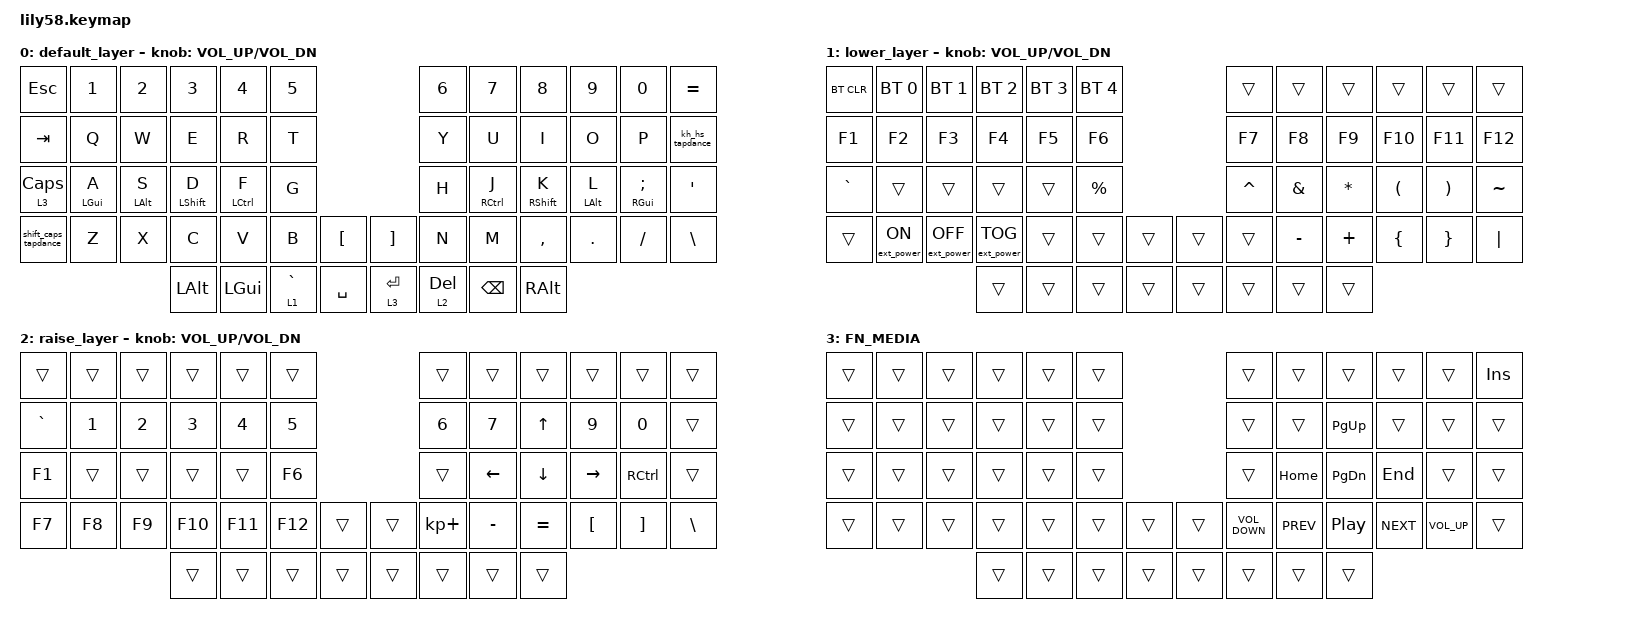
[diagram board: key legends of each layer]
/*
 * Copyright (c) 2020 The ZMK Contributors
 *
 * SPDX-License-Identifier: MIT
 */

#include <behaviors.dtsi>
#include <dt-bindings/zmk/bt.h>
#include <dt-bindings/zmk/ext_power.h>
#include <dt-bindings/zmk/keys.h>

&lt { quick-tap-ms = <300>; };

/ {
    combos {
        compatible = "zmk,combos";

        combo_esc {
            timeout-ms = <50>;
            key-positions = <0 1>;
            bindings = <&kp ESC>;
        };

        escape_pinkies {
            bindings = <&kp ESC>;
            key-positions = <25 34>;
        };

        zmk-studio-unlock {
            bindings = <&studio_unlock>;
            key-positions = <5 6>;
        };
    };

    behaviors {
        ss_hs_modmorph: ss_hs_modmorph {
            compatible = "zmk,behavior-mod-morph";
            label = "SS_HS_MODMORPH";
            bindings = <&kp M>, <&kp RIGHT_BRACKET>;

            #binding-cells = <0>;
            mods = <(MOD_LSFT|MOD_RSFT)>;
        };

        kh_hs_tapdance: kh_hs_tapdance {
            compatible = "zmk,behavior-tap-dance";
            label = "KH_HS_TAPDANCE";
            #binding-cells = <0>;
            tapping-term-ms = <200>;
            bindings = <&kp LEFT_BRACKET>, <&kp RIGHT_BRACKET>;
        };

        hrm: hrm {
            compatible = "zmk,behavior-hold-tap";
            #binding-cells = <2>;
            flavor = "tap-preferred";
            tapping-term-ms = <250>;
            quick-tap-ms = <200>;
            require-prior-idle-ms = <125>;
            bindings = <&kp>, <&kp>;
        };

        shift_caps_tapdance: shift_caps_tapdance {
            compatible = "zmk,behavior-tap-dance";
            label = "SHIFT_CAPS_TAPDANCE";
            #binding-cells = <0>;
            bindings = <&kp LSHFT>, <&kp LS(CAPSLOCK)>;
        };
    };

    keymap {
        compatible = "zmk,keymap";

        default_layer {
            // ------------------------------------------------------------------------------------------------------------
            // |  ESC  |  1  |  2  |  3   |  4   |  5   |                   |  6   |  7    |  8    |  9   |   0   |   `   |
            // |  TAB  |  Q  |  W  |  E   |  R   |  T   |                   |  Y   |  U    |  I    |  O   |   P   |   -   |
            // |  CTRL |  A  |  S  |  D   |  F   |  G   |                   |  H   |  J    |  K    |  L   |   ;   |   '   |
            // | SHIFT |  Z  |  X  |  C   |  V   |  B   |   "["  |  |  "]"  |  N   |  M    |  ,    |  .   |   /   | SHIFT |
            //                     | ALT  | GUI  | LOWER|  SPACE |  | ENTER | RAISE| BSPC  | GUI   |

            bindings = <
&kp ESC               &kp N1       &kp N2       &kp N3        &kp N4        &kp N5                               &kp N6        &kp N7        &kp N8         &kp N9       &kp N0          &kp EQUAL
&kp TAB               &kp Q        &kp W        &kp E         &kp R         &kp T                                &kp Y         &kp U         &kp I          &kp O        &kp P           &kh_hs_tapdance
&lt 3 CAPS            &hrm LGUI A  &hrm LALT S  &hrm LSHFT D  &hrm LCTRL F  &kp G                                &kp H         &hrm RCTRL J  &hrm RSHFT K   &hrm LALT L  &hrm RGUI SEMI  &kp SQT
&shift_caps_tapdance  &kp Z        &kp X        &kp C         &kp V         &kp B        &kp LBKT     &kp RBKT   &kp N         &kp M         &kp COMMA      &kp DOT      &kp FSLH        &kp BACKSLASH
                                                &kp LALT      &kp LGUI      &lt 1 GRAVE  &kp SPACE    &lt 3 RET  &lt 2 DELETE  &kp BSPC      &kp RIGHT_ALT
            >;

            sensor-bindings = <&inc_dec_kp C_VOL_UP C_VOL_DN>;
        };

        lower_layer {
            // ------------------------------------------------------------------------------------------------------------
            // | BTCLR | BT1 | BT2 |  BT3 |  BT4 |  BT5 |                   |      |       |       |      |       |       |
            // |  F1   |  F2 |  F3 |  F4  |  F5  |  F6  |                   |  F7  |  F8   |  F9   |  F10 |  F11  |  F12  |
            // |   `   |  !  |  @  |  #   |  $   |  %   |                   |  ^   |  &    |  *    |  (   |   )   |   ~   |
            // |       |     |     |      |      |      |        |  |       |      |  _    |  +    |  {   |   }   |  "|"  |
            //                     |      |      |      |        |  |       |      |       |       |

            bindings = <
&bt BT_CLR  &bt BT_SEL 0      &bt BT_SEL 1       &bt BT_SEL 2       &bt BT_SEL 3  &bt BT_SEL 4                    &trans     &trans     &trans     &trans    &trans    &trans
&kp F1      &kp F2            &kp F3             &kp F4             &kp F5        &kp F6                          &kp F7     &kp F8     &kp F9     &kp F10   &kp F11   &kp F12
&kp GRAVE   &trans            &trans             &trans             &trans        &kp PRCNT                       &kp CARET  &kp AMPS   &kp ASTRK  &kp LPAR  &kp RPAR  &kp TILDE
&trans      &ext_power EP_ON  &ext_power EP_OFF  &ext_power EP_TOG  &trans        &trans        &trans    &trans  &trans     &kp MINUS  &kp PLUS   &kp LBRC  &kp RBRC  &kp PIPE
                                                 &trans             &trans        &trans        &trans    &trans  &trans     &trans     &trans
            >;

            sensor-bindings = <&inc_dec_kp C_VOL_UP C_VOL_DN>;
        };

        raise_layer {
            // ------------------------------------------------------------------------------------------------------------
            // |       |     |     |      |      |      |                   |      |       |       |      |       |       |
            // |   `   |  1  |  2  |  3   |  4   |  5   |                   |  6   |   7   |   8   |  9   |   0   |       |
            // |   F1  |  F2 |  F3 |  F4  |  F5  |  F6  |                   |      |   <-  |   v   |  ^   |  ->   |       |
            // |   F7  |  F8 |  F9 |  F10 |  F11 |  F12 |        |  |       |  +   |   -   |   =   |  [   |   ]   |   \   |
            //                     |      |      |      |        |  |       |      |       |       |

            bindings = <
&trans     &trans  &trans  &trans   &trans   &trans                     &trans       &trans     &trans     &trans     &trans     &trans
&kp GRAVE  &kp N1  &kp N2  &kp N3   &kp N4   &kp N5                     &kp N6       &kp N7     &kp UP     &kp N9     &kp N0     &trans
&kp F1     &trans  &trans  &trans   &trans   &kp F6                     &trans       &kp LEFT   &kp DOWN   &kp RIGHT  &kp RCTRL  &trans
&kp F7     &kp F8  &kp F9  &kp F10  &kp F11  &kp F12  &trans    &trans  &kp KP_PLUS  &kp MINUS  &kp EQUAL  &kp LBKT   &kp RBKT   &kp BSLH
                           &trans   &trans   &trans   &trans    &trans  &trans       &trans     &trans
            >;

            sensor-bindings = <&inc_dec_kp C_VOL_UP C_VOL_DN>;
        };

        FN_MEDIA {
            bindings = <
&trans  &trans  &trans  &trans  &trans  &trans                    &trans             &trans      &trans            &trans      &trans           &kp INS
&trans  &trans  &trans  &trans  &trans  &trans                    &trans             &trans      &kp PG_UP         &trans      &trans           &trans
&trans  &trans  &trans  &trans  &trans  &trans                    &trans             &kp HOME    &kp PAGE_DOWN     &kp END     &trans           &trans
&trans  &trans  &trans  &trans  &trans  &trans  &trans    &trans  &kp C_VOLUME_DOWN  &kp C_PREV  &kp C_PLAY_PAUSE  &kp C_NEXT  &kp C_VOLUME_UP  &trans
                        &trans  &trans  &trans  &trans    &trans  &trans             &trans      &trans
            >;
        };
    };
};
